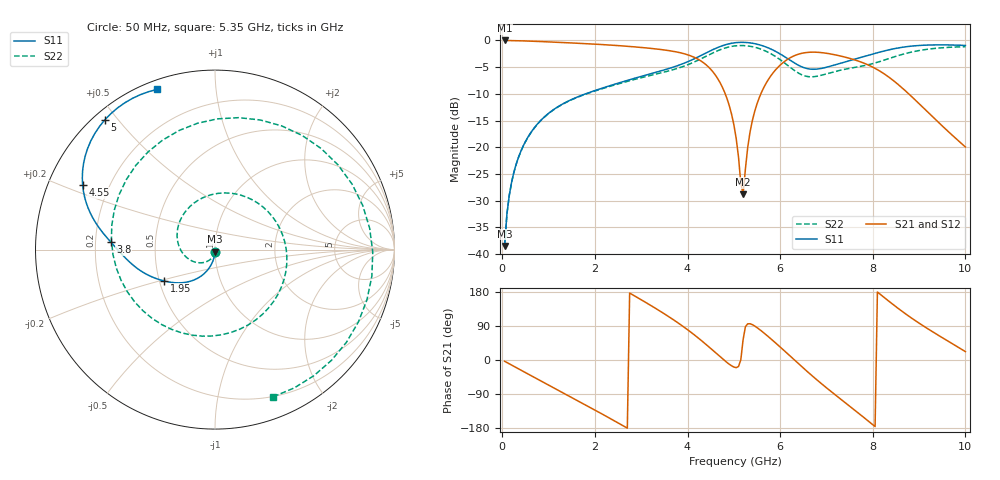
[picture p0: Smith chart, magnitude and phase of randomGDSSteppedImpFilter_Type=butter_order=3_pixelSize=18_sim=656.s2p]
! freq	dB(S11)	phase(S11)	dB(S12)	phase(S12)
!  dB(S21)	phase(S21)	dB(S22)	phase(S22)
!S-par simulation data
#  GHz  S  DB  R 50
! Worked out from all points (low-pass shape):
!   200 points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, 50 MHz to 10 GHz, reference 50 ohm
!   highest |S21| = -0.01 dB at 50 MHz (marker M1); lowest = -28.8 dB at 5.2 GHz (marker M2)
!   |S21| within 3 dB of the highest: start of sweep to 4.103 GHz; 6.271 GHz to 7.345 GHz (1.074 GHz wide, 15.8 % of centre)
!   lowest |S11| = -38.5 dB at 50 MHz (marker M3), VSWR 1.02, Z = 49.9 - j1.19 ohm
!   |S11| at or under -10 dB: start of sweep to 1.799 GHz
!   |S22| runs from -38.5 to -1.0 dB; largest |S21 - S12| = 0
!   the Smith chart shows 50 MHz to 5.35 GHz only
!   S11 on the Smith chart (normalised r, x): 50 MHz: 1.00, -0.02; 1.95 GHz: 0.53, -0.21; 3.8 GHz: 0.26, +0.03; 4.55 GHz: 0.10, +0.23; 5 GHz: 0.03, +0.46; 5.35 GHz: 0.04, +0.70
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0.05  -38.48 -91.8  -0.01 -3.4  -0.01 -3.4  -38.54 -94.9
0.2  -26.59 -97.6  -0.03 -13.4  -0.03 -13.4  -26.62 -109.5
0.5  -18.94 -108.6  -0.10 -33.2  -0.10 -33.2  -18.98 -139.0
1.75  -10.16 -144.3  -0.58 -115.5  -0.58 -115.5  -10.22 92.2
1.95  -9.54 -148.5  -0.67 -128.8  -0.67 -128.8  -9.61 69.9
2.7  -7.48 -162.8  -1.10 -179.9  -1.10 -179.9  -7.67 -17.5
3.4  -5.77 -176.5  -1.68 129.5  -1.68 129.5  -6.14 -105.0
3.8  -4.68 175.7  -2.22 97.5  -2.22 97.5  -5.19 -161.8
4.15  -3.42 167.9  -3.18 66.0  -3.18 66.0  -4.02 141.7
4.55  -1.71 153.9  -5.90 25.1  -5.90 25.1  -2.33 70.7
5  -0.46 130.3  -15.76 -18.5  -15.76 -18.5  -1.05 -9.7
5.05  -0.41 127.4  -18.31 -20.1  -18.31 -20.1  -1.00 -18.3
5.2  -0.36 118.6  -28.82 53.8  -28.82 53.8  -0.96 -43.6
5.35  -0.46 109.9  -17.16 95.7  -17.16 95.7  -1.09 -68.4
5.95  -2.28 78.9  -5.05 39.8  -5.05 39.8  -3.30 -170.4
6.35  -4.44 68.3  -2.71 -4.6  -2.71 -4.6  -5.88 107.2
6.7  -5.40 68.2  -2.19 -42.7  -2.19 -42.7  -6.81 26.7
7.4  -4.03 58.7  -3.12 -112.1  -3.12 -112.1  -5.40 -104.2
7.9  -2.79 42.4  -4.59 -160.8  -4.59 -160.8  -4.56 171.9
8.35  -1.76 23.2  -6.89 154.9  -6.89 154.9  -3.39 98.9
9.1  -0.90 -15.4  -12.68 89.2  -12.68 89.2  -1.75 9.7
10  -0.94 -65.3  -19.96 22.2  -19.96 22.2  -1.18 -52.4
